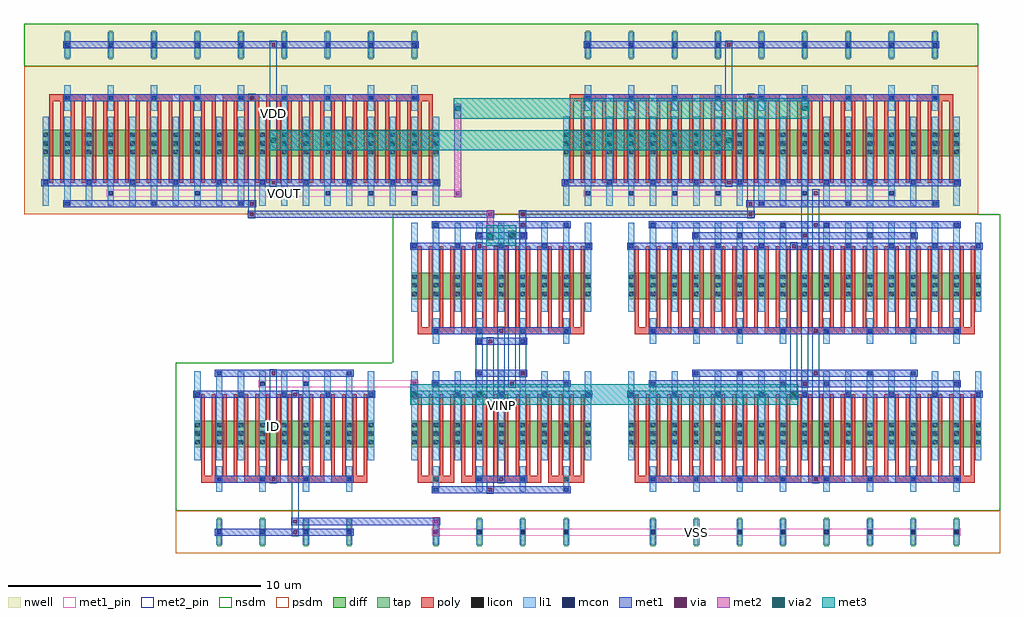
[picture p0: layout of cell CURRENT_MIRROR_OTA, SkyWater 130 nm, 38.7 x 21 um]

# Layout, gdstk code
import gdstk
lib = gdstk.Library(unit=1e-6, precision=1e-09)
def R(c, l, rs):  # rectangles x0, y0, x1, y1
    for r in rs: c.add(gdstk.rectangle(r[:2], r[2:], *l))
def A(c, l, x, y, w, h, nx, ny, dx, dy):  # array of equal rectangles
    R(c, l, [(x+i*dx, y+j*dy, x+i*dx+w, y+j*dy+h) for i in range(nx) for j in range(ny)])
nwell = (64, 20)
diff = (65, 20)
tap = (65, 44)
poly = (66, 20)
licon = (66, 44)
li1 = (67, 20)
mcon = (67, 44)
met1_pin = (68, 16)
met1 = (68, 20)
via = (68, 44)
met2_pin = (69, 16)
met2 = (69, 20)
via2 = (69, 44)
met3 = (70, 20)
nsdm = (93, 44)
psdm = (94, 20)

current_mirror_ota = lib.new_cell('CURRENT_MIRROR_OTA')
R(current_mirror_ota, nwell, [(0,13.44,18.92,21), (18.92,13.44,37.84,21)])
R(current_mirror_ota, diff, [(6.755,4.2,13.885,5.25), (15.355,4.2,22.485,5.25), (23.955,4.2,37.965,5.25), (15.355,10.08,22.485,11.13), (23.955,10.08,37.965,11.13), (0.735,15.75,16.465,16.8), (21.375,15.75,37.105,16.8)])
A(current_mirror_ota, tap, 7.655, 0.28, 0.17, 1.12, 4, 1, 1.72, 0)
A(current_mirror_ota, tap, 16.255, 0.28, 0.17, 1.12, 4, 1, 1.72, 0)
A(current_mirror_ota, tap, 24.855, 0.28, 0.17, 1.12, 8, 1, 1.72, 0)
A(current_mirror_ota, tap, 1.635, 19.6, 0.17, 1.12, 9, 1, 1.72, 0)
A(current_mirror_ota, tap, 22.275, 19.6, 0.17, 1.12, 9, 1, 1.72, 0)
A(current_mirror_ota, poly, 7.02, 2.805, 1.44, 0.27, 4, 1, 1.72, 0)
A(current_mirror_ota, poly, 15.62, 2.805, 1.44, 0.27, 4, 2, 1.72, 5.88)
A(current_mirror_ota, poly, 24.22, 2.805, 1.44, 0.27, 8, 2, 1.72, 5.88)
A(current_mirror_ota, poly, 7.02, 2.94, 0.15, 3.36, 16, 1, 0.43, 0)
A(current_mirror_ota, poly, 15.62, 2.94, 0.15, 3.36, 16, 2, 0.43, 5.88)
A(current_mirror_ota, poly, 24.22, 2.94, 0.15, 3.36, 32, 2, 0.43, 5.88)
A(current_mirror_ota, poly, 1, 14.7, 0.15, 3.36, 36, 1, 0.43, 0)
A(current_mirror_ota, poly, 21.64, 14.7, 0.15, 3.36, 36, 1, 0.43, 0)
A(current_mirror_ota, poly, 1, 17.925, 1.44, 0.27, 9, 1, 1.72, 0)
A(current_mirror_ota, poly, 21.64, 17.925, 1.44, 0.27, 9, 1, 1.72, 0)
A(current_mirror_ota, licon, 7.655, 0.755, 0.17, 0.17, 4, 2, 1.72, 2.1)
A(current_mirror_ota, licon, 16.255, 2.855, 0.17, 0.17, 4, 2, 1.72, 5.88)
A(current_mirror_ota, licon, 24.855, 2.855, 0.17, 0.17, 8, 2, 1.72, 5.88)
A(current_mirror_ota, licon, 6.795, 4.32, 0.17, 0.17, 3, 3, 0.86, 0.34)
A(current_mirror_ota, licon, 8.515, 4.32, 0.17, 0.17, 3, 3, 0.86, 0.34)
A(current_mirror_ota, licon, 10.235, 4.32, 0.17, 0.17, 3, 3, 0.86, 0.34)
A(current_mirror_ota, licon, 11.955, 4.32, 0.17, 0.17, 3, 3, 0.86, 0.34)
A(current_mirror_ota, licon, 15.395, 4.32, 0.17, 0.17, 3, 3, 0.86, 0.34)
A(current_mirror_ota, licon, 17.115, 4.32, 0.17, 0.17, 3, 3, 0.86, 0.34)
A(current_mirror_ota, licon, 18.835, 4.32, 0.17, 0.17, 3, 3, 0.86, 0.34)
A(current_mirror_ota, licon, 20.555, 4.32, 0.17, 0.17, 3, 3, 0.86, 0.34)
A(current_mirror_ota, licon, 23.995, 4.32, 0.17, 0.17, 3, 3, 0.86, 0.34)
A(current_mirror_ota, licon, 25.715, 4.32, 0.17, 0.17, 3, 3, 0.86, 0.34)
A(current_mirror_ota, licon, 27.435, 4.32, 0.17, 0.17, 3, 3, 0.86, 0.34)
A(current_mirror_ota, licon, 29.155, 4.32, 0.17, 0.17, 3, 3, 0.86, 0.34)
A(current_mirror_ota, licon, 30.875, 4.32, 0.17, 0.17, 3, 3, 0.86, 0.34)
A(current_mirror_ota, licon, 32.595, 4.32, 0.17, 0.17, 3, 3, 0.86, 0.34)
A(current_mirror_ota, licon, 34.315, 4.32, 0.17, 0.17, 3, 3, 0.86, 0.34)
A(current_mirror_ota, licon, 36.035, 4.32, 0.17, 0.17, 3, 3, 0.86, 0.34)
A(current_mirror_ota, licon, 15.395, 10.2, 0.17, 0.17, 3, 3, 0.86, 0.34)
A(current_mirror_ota, licon, 17.115, 10.2, 0.17, 0.17, 3, 3, 0.86, 0.34)
A(current_mirror_ota, licon, 18.835, 10.2, 0.17, 0.17, 3, 3, 0.86, 0.34)
A(current_mirror_ota, licon, 20.555, 10.2, 0.17, 0.17, 3, 3, 0.86, 0.34)
A(current_mirror_ota, licon, 23.995, 10.2, 0.17, 0.17, 3, 3, 0.86, 0.34)
A(current_mirror_ota, licon, 25.715, 10.2, 0.17, 0.17, 3, 3, 0.86, 0.34)
A(current_mirror_ota, licon, 27.435, 10.2, 0.17, 0.17, 3, 3, 0.86, 0.34)
A(current_mirror_ota, licon, 29.155, 10.2, 0.17, 0.17, 3, 3, 0.86, 0.34)
A(current_mirror_ota, licon, 30.875, 10.2, 0.17, 0.17, 3, 3, 0.86, 0.34)
A(current_mirror_ota, licon, 32.595, 10.2, 0.17, 0.17, 3, 3, 0.86, 0.34)
A(current_mirror_ota, licon, 34.315, 10.2, 0.17, 0.17, 3, 3, 0.86, 0.34)
A(current_mirror_ota, licon, 36.035, 10.2, 0.17, 0.17, 3, 3, 0.86, 0.34)
A(current_mirror_ota, licon, 0.775, 15.83, 0.17, 0.17, 3, 3, 0.86, 0.34)
A(current_mirror_ota, licon, 2.495, 15.83, 0.17, 0.17, 3, 3, 0.86, 0.34)
A(current_mirror_ota, licon, 4.215, 15.83, 0.17, 0.17, 3, 3, 0.86, 0.34)
A(current_mirror_ota, licon, 5.935, 15.83, 0.17, 0.17, 3, 3, 0.86, 0.34)
A(current_mirror_ota, licon, 7.655, 15.83, 0.17, 0.17, 3, 3, 0.86, 0.34)
A(current_mirror_ota, licon, 9.375, 15.83, 0.17, 0.17, 3, 3, 0.86, 0.34)
A(current_mirror_ota, licon, 11.095, 15.83, 0.17, 0.17, 3, 3, 0.86, 0.34)
A(current_mirror_ota, licon, 12.815, 15.83, 0.17, 0.17, 3, 3, 0.86, 0.34)
A(current_mirror_ota, licon, 14.535, 15.83, 0.17, 0.17, 3, 3, 0.86, 0.34)
A(current_mirror_ota, licon, 21.415, 15.83, 0.17, 0.17, 3, 3, 0.86, 0.34)
A(current_mirror_ota, licon, 23.135, 15.83, 0.17, 0.17, 3, 3, 0.86, 0.34)
A(current_mirror_ota, licon, 24.855, 15.83, 0.17, 0.17, 3, 3, 0.86, 0.34)
A(current_mirror_ota, licon, 26.575, 15.83, 0.17, 0.17, 3, 3, 0.86, 0.34)
A(current_mirror_ota, licon, 28.295, 15.83, 0.17, 0.17, 3, 3, 0.86, 0.34)
A(current_mirror_ota, licon, 30.015, 15.83, 0.17, 0.17, 3, 3, 0.86, 0.34)
A(current_mirror_ota, licon, 31.735, 15.83, 0.17, 0.17, 3, 3, 0.86, 0.34)
A(current_mirror_ota, licon, 33.455, 15.83, 0.17, 0.17, 3, 3, 0.86, 0.34)
A(current_mirror_ota, licon, 35.175, 15.83, 0.17, 0.17, 3, 3, 0.86, 0.34)
A(current_mirror_ota, licon, 1.635, 17.975, 0.17, 0.17, 9, 2, 1.72, 2.1)
A(current_mirror_ota, licon, 22.275, 17.975, 0.17, 0.17, 9, 2, 1.72, 2.1)
R(current_mirror_ota, licon, [(16.255,0.755,16.425,0.925), (16.255,0.755,16.425,0.925), (17.975,0.755,18.145,0.925), (17.975,0.755,18.145,0.925), (19.695,0.755,19.865,0.925), (19.695,0.755,19.865,0.925), (21.415,0.755,21.585,0.925), (21.415,0.755,21.585,0.925), (24.855,0.755,25.025,0.925), (24.855,0.755,25.025,0.925), (26.575,0.755,26.745,0.925), (26.575,0.755,26.745,0.925), (28.295,0.755,28.465,0.925), (28.295,0.755,28.465,0.925), (30.015,0.755,30.185,0.925), (30.015,0.755,30.185,0.925), (31.735,0.755,31.905,0.925), (31.735,0.755,31.905,0.925), (33.455,0.755,33.625,0.925), (33.455,0.755,33.625,0.925), (35.175,0.755,35.345,0.925), (35.175,0.755,35.345,0.925), (36.895,0.755,37.065,0.925), (36.895,0.755,37.065,0.925)])
A(current_mirror_ota, li1, 7.615, 0.335, 0.25, 1.01, 4, 2, 1.72, 2.1)
A(current_mirror_ota, li1, 16.215, 0.335, 0.25, 1.01, 4, 2, 1.72, 2.1)
A(current_mirror_ota, li1, 24.815, 0.335, 0.25, 1.01, 8, 2, 1.72, 2.1)
A(current_mirror_ota, li1, 6.755, 3.695, 0.25, 3.53, 9, 1, 0.86, 0)
A(current_mirror_ota, li1, 15.355, 3.695, 0.25, 3.53, 9, 2, 0.86, 5.88)
A(current_mirror_ota, li1, 23.955, 3.695, 0.25, 3.53, 17, 2, 0.86, 5.88)
A(current_mirror_ota, li1, 16.215, 8.315, 0.25, 1.01, 4, 1, 1.72, 0)
A(current_mirror_ota, li1, 24.815, 8.315, 0.25, 1.01, 8, 1, 1.72, 0)
A(current_mirror_ota, li1, 0.735, 13.775, 0.25, 3.53, 19, 1, 0.86, 0)
A(current_mirror_ota, li1, 21.375, 13.775, 0.25, 3.53, 19, 1, 0.86, 0)
A(current_mirror_ota, li1, 1.595, 17.555, 0.25, 1.01, 9, 2, 1.72, 2.1)
A(current_mirror_ota, li1, 22.235, 17.555, 0.25, 1.01, 9, 2, 1.72, 2.1)
A(current_mirror_ota, mcon, 7.655, 0.755, 0.17, 0.17, 4, 2, 1.72, 2.1)
A(current_mirror_ota, mcon, 16.255, 0.755, 0.17, 0.17, 4, 1, 1.72, 0)
A(current_mirror_ota, mcon, 24.855, 0.755, 0.17, 0.17, 8, 2, 1.72, 2.1)
A(current_mirror_ota, mcon, 6.795, 6.215, 0.17, 0.17, 19, 1, 1.72, 0)
A(current_mirror_ota, mcon, 11.095, 6.635, 0.17, 0.17, 3, 1, 5.16, 0)
A(current_mirror_ota, mcon, 7.655, 7.055, 0.17, 0.17, 3, 1, 5.16, 0)
A(current_mirror_ota, mcon, 24.855, 8.735, 0.17, 0.17, 8, 1, 1.72, 0)
A(current_mirror_ota, mcon, 15.395, 12.095, 0.17, 0.17, 14, 1, 1.72, 0)
A(current_mirror_ota, mcon, 1.635, 13.775, 0.17, 0.17, 3, 1, 3.44, 0)
A(current_mirror_ota, mcon, 29.155, 13.775, 0.17, 0.17, 3, 1, 3.44, 0)
A(current_mirror_ota, mcon, 3.355, 14.195, 0.17, 0.17, 3, 1, 3.44, 0)
A(current_mirror_ota, mcon, 11.955, 14.195, 0.17, 0.17, 3, 1, 1.72, 0)
A(current_mirror_ota, mcon, 22.275, 14.195, 0.17, 0.17, 4, 1, 1.72, 0)
A(current_mirror_ota, mcon, 0.775, 14.615, 0.17, 0.17, 10, 1, 1.72, 0)
A(current_mirror_ota, mcon, 21.415, 14.615, 0.17, 0.17, 10, 1, 1.72, 0)
A(current_mirror_ota, mcon, 1.635, 17.975, 0.17, 0.17, 9, 2, 1.72, 2.1)
A(current_mirror_ota, mcon, 22.275, 17.975, 0.17, 0.17, 9, 2, 1.72, 2.1)
R(current_mirror_ota, mcon, [(16.255,2.435,16.425,2.605), (21.415,2.435,21.585,2.605), (17.975,2.855,18.145,3.025), (19.695,2.855,19.865,3.025), (9.375,6.635,9.545,6.805), (24.855,6.635,25.025,6.805), (30.015,6.635,30.185,6.805), (31.735,6.635,31.905,6.805), (36.895,6.635,37.065,6.805), (19.695,7.055,19.865,7.225), (26.575,7.055,26.745,7.225), (28.295,7.055,28.465,7.225), (33.455,7.055,33.625,7.225), (35.175,7.055,35.345,7.225), (17.975,8.315,18.145,8.485), (19.695,8.315,19.865,8.485), (16.255,8.735,16.425,8.905), (21.415,8.735,21.585,8.905), (17.975,12.515,18.145,12.685), (19.695,12.515,19.865,12.685), (26.575,12.515,26.745,12.685), (28.295,12.515,28.465,12.685), (33.455,12.515,33.625,12.685), (35.175,12.515,35.345,12.685), (16.255,12.935,16.425,13.105), (21.415,12.935,21.585,13.105), (24.855,12.935,25.025,13.105), (30.015,12.935,30.185,13.105), (31.735,12.935,31.905,13.105), (36.895,12.935,37.065,13.105), (30.875,14.195,31.045,14.365), (34.315,14.195,34.485,14.365)])
R(current_mirror_ota, met1_pin, [(16.17,0.7,37.15,0.98), (9.29,6.58,15.64,6.86), (3.27,14.14,17.36,14.42), (22.19,14.14,34.57,14.42)])
R(current_mirror_ota, met1, [(7.57,0.7,13.07,0.98), (10.59,1.12,16.5,1.4), (16.17,2.38,21.67,2.66), (7.57,2.8,13.07,3.08), (17.89,2.8,19.95,3.08), (24.77,2.8,37.15,3.08), (6.71,6.16,13.93,6.44), (15.31,6.16,22.53,6.44), (23.91,6.16,38.01,6.44), (16.17,6.58,21.67,6.86), (24.77,6.58,37.15,6.86), (7.57,7,13.07,7.28), (17.89,7,19.95,7.28), (26.49,7,35.43,7.28), (17.89,8.26,19.95,8.54), (16.17,8.68,21.67,8.96), (24.77,8.68,37.15,8.96), (15.31,12.04,22.53,12.32), (23.91,12.04,38.01,12.32), (17.89,12.46,19.95,12.74), (26.49,12.46,35.43,12.74), (16.17,12.88,21.67,13.16), (24.77,12.88,37.15,13.16), (8.87,13.3,18.65,13.58), (19.62,13.3,28.97,13.58), (1.55,13.72,9.2,14), (28.64,13.72,36.29,14), (0.69,14.56,16.51,14.84), (21.33,14.56,37.15,14.84), (1.55,17.92,15.65,18.2), (22.19,17.92,36.29,18.2), (1.55,20.02,15.65,20.3), (22.19,20.02,36.29,20.3)])
R(current_mirror_ota, via, [(10.675,0.765,10.825,0.915), (16.265,0.765,16.415,0.915), (10.675,1.185,10.825,1.335), (16.265,1.185,16.415,1.335), (18.415,2.445,18.565,2.595), (9.815,2.865,9.965,3.015), (18.845,2.865,18.995,3.015), (31.315,2.865,31.465,3.015), (10.675,6.225,10.825,6.375), (17.985,6.225,18.135,6.375), (30.455,6.225,30.605,6.375), (15.405,6.645,15.555,6.795), (19.275,6.645,19.425,6.795), (30.885,6.645,31.035,6.795), (9.815,7.065,9.965,7.215), (19.705,7.065,19.855,7.215), (31.315,7.065,31.465,7.215), (18.415,8.325,18.565,8.475), (18.845,8.745,18.995,8.895), (31.315,8.745,31.465,8.895), (17.985,12.105,18.135,12.255), (30.455,12.105,30.605,12.255), (19.275,12.525,19.425,12.675), (30.885,12.525,31.035,12.675), (19.705,12.945,19.855,13.095), (31.315,12.945,31.465,13.095), (8.955,13.365,9.105,13.515), (18.415,13.365,18.565,13.515), (19.705,13.365,19.855,13.515), (28.735,13.365,28.885,13.515), (8.955,13.785,9.105,13.935), (28.735,13.785,28.885,13.935), (17.125,14.205,17.275,14.355), (31.315,14.205,31.465,14.355), (9.815,14.625,9.965,14.775), (27.875,14.625,28.025,14.775), (8.955,17.985,9.105,18.135), (28.735,17.985,28.885,18.135), (9.815,20.085,9.965,20.235), (27.875,20.085,28.025,20.235)])
R(current_mirror_ota, met2_pin, [(10.61,0.68,10.89,6.46), (18.35,2.36,18.63,8.56), (9.75,2.78,10.03,7.3), (18.78,2.78,19.06,8.98), (31.25,2.78,31.53,14.44), (17.92,6.115,18.2,12.34), (30.39,6.115,30.67,12.34), (19.21,6.56,19.49,12.785), (30.82,6.56,31.1,17.825), (19.64,6.98,19.92,13.6), (8.89,13.28,9.17,18.22), (28.67,13.28,28.95,18.22), (9.75,14.54,10.03,20.32), (27.81,14.54,28.09,20.32)])
R(current_mirror_ota, met2, [(16.2,0.68,16.48,1.42), (15.34,6.115,15.62,6.88), (18.35,12.415,18.63,13.6), (17.06,14.12,17.34,17.825)])
R(current_mirror_ota, via2, [(15.38,6.2,15.58,6.4), (17.96,6.2,18.16,6.4), (30.43,6.2,30.63,6.4), (18.39,12.5,18.59,12.7), (19.25,12.5,19.45,12.7), (9.79,16.28,9.99,16.48), (27.85,16.28,28.05,16.48), (17.1,17.54,17.3,17.74), (30.86,17.54,31.06,17.74)])
R(current_mirror_ota, met3, [(15.315,5.9,30.695,6.7), (18.325,12.2,19.515,13), (9.725,15.98,28.115,16.78), (17.035,17.24,31.125,18.04)])
R(current_mirror_ota, nsdm, [(6.02,1.68,14.62,7.56), (14.62,1.68,23.22,13.44), (23.22,1.68,38.7,13.44), (0,19.32,18.92,21), (18.92,19.32,37.84,21)])
R(current_mirror_ota, psdm, [(6.02,0,14.62,1.68), (14.62,0,23.22,1.68), (23.22,0,38.7,1.68), (0,13.44,18.92,19.32), (18.92,13.44,37.84,19.32)])
current_mirror_ota.add(gdstk.Label('VSS', (26.66,0.84), layer=68, texttype=5))
current_mirror_ota.add(gdstk.Label('VOUT', (10.315,14.28), layer=68, texttype=5))
current_mirror_ota.add(gdstk.Label('ID', (9.89,5.04), layer=69, texttype=5))
current_mirror_ota.add(gdstk.Label('VDD', (9.89,17.43), layer=69, texttype=5))
current_mirror_ota.add(gdstk.Label('VINP', (18.92,5.88), layer=69, texttype=5))
current_mirror_ota.add(gdstk.Label('VINN', (18.49,5.46), layer=69, texttype=5))

lib.write_gds('CURRENT_MIRROR_OTA.gds')
